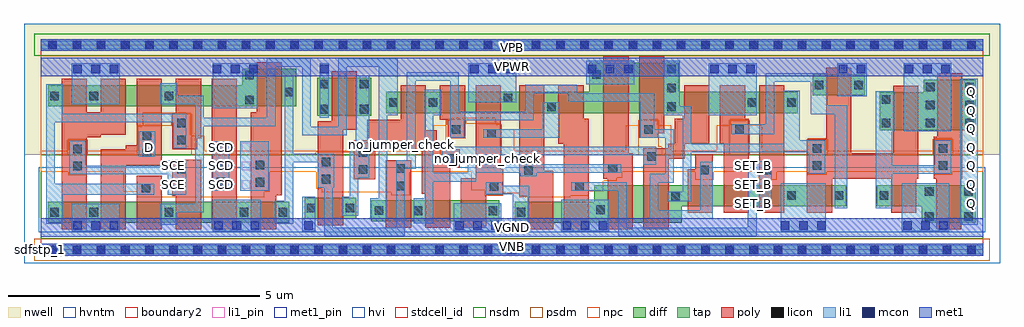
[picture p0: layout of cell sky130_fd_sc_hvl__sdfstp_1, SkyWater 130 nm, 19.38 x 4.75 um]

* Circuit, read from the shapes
.subckt sky130_fd_sc_hvl__sdfstp_1 CLK D Q SCD SCE SET_B VGND VNB VPB VPWR
XM1 VGND SCE n1 VNB sky130_fd_pr__nfet_g5v0d10v5 w=0.42 l=0.5
XM2 n2 D VGND VNB sky130_fd_pr__nfet_g5v0d10v5 w=0.42 l=0.5
XM3 n3 n1 n2 VNB sky130_fd_pr__nfet_g5v0d10v5 w=0.42 l=0.5
XM4 n4 SCE n3 VNB sky130_fd_pr__nfet_g5v0d10v5 w=0.42 l=0.5
XM5 VGND SCD n4 VNB sky130_fd_pr__nfet_g5v0d10v5 w=0.42 l=0.5
XM6 n5 CLK VGND VNB sky130_fd_pr__nfet_g5v0d10v5 w=0.42 l=0.5
XM7 n6 n5 VGND VNB sky130_fd_pr__nfet_g5v0d10v5 w=0.42 l=0.5
XM8 n7 n5 n3 VNB sky130_fd_pr__nfet_g5v0d10v5 w=0.42 l=0.5
XM9 n8 n6 n7 VNB sky130_fd_pr__nfet_g5v0d10v5 w=0.42 l=0.5
XM10 VGND n9 n8 VNB sky130_fd_pr__nfet_g5v0d10v5 w=0.42 l=0.5
XM11 n10 n7 n9 VNB sky130_fd_pr__nfet_g5v0d10v5 w=0.42 l=0.5
XM12 VGND SET_B n10 VNB sky130_fd_pr__nfet_g5v0d10v5 w=0.42 l=0.5
XM13 n11 n7 VGND VNB sky130_fd_pr__nfet_g5v0d10v5 w=0.75 l=0.5
XM14 n12 n6 n11 VNB sky130_fd_pr__nfet_g5v0d10v5 w=0.75 l=0.5
XM15 n13 n5 n12 VNB sky130_fd_pr__nfet_g5v0d10v5 w=0.42 l=0.5
XM16 n14 n15 n13 VNB sky130_fd_pr__nfet_g5v0d10v5 w=0.42 l=0.5
XM17 VGND SET_B n14 VNB sky130_fd_pr__nfet_g5v0d10v5 w=0.42 l=0.5
XM18 n15 n12 VGND VNB sky130_fd_pr__nfet_g5v0d10v5 w=0.42 l=0.5
XM19 VGND n12 n16 VNB sky130_fd_pr__nfet_g5v0d10v5 w=0.42 l=0.5
XM20 Q n16 VGND VNB sky130_fd_pr__nfet_g5v0d10v5 w=0.75 l=0.5
XM21 VPWR SCE n1 VPB sky130_fd_pr__pfet_g5v0d10v5 w=0.42 l=0.5
XM22 n17 SCE VPWR VPB sky130_fd_pr__pfet_g5v0d10v5 w=0.42 l=0.5
XM23 n3 D n17 VPB sky130_fd_pr__pfet_g5v0d10v5 w=0.42 l=0.5
XM24 n18 n1 n3 VPB sky130_fd_pr__pfet_g5v0d10v5 w=0.42 l=0.5
XM25 VPWR SCD n18 VPB sky130_fd_pr__pfet_g5v0d10v5 w=0.42 l=0.5
XM26 n5 CLK VPWR VPB sky130_fd_pr__pfet_g5v0d10v5 w=0.75 l=0.5
XM27 n6 n5 VPWR VPB sky130_fd_pr__pfet_g5v0d10v5 w=0.75 l=0.5
XM28 n7 n6 n3 VPB sky130_fd_pr__pfet_g5v0d10v5 w=0.42 l=0.5
XM29 n19 n5 n7 VPB sky130_fd_pr__pfet_g5v0d10v5 w=0.42 l=0.5
XM30 VPWR n9 n19 VPB sky130_fd_pr__pfet_g5v0d10v5 w=0.42 l=0.5
XM31 n9 n7 VPWR VPB sky130_fd_pr__pfet_g5v0d10v5 w=0.42 l=0.5
XM32 VPWR SET_B n9 VPB sky130_fd_pr__pfet_g5v0d10v5 w=0.42 l=0.5
XM33 n20 n7 VPWR VPB sky130_fd_pr__pfet_g5v0d10v5 w=1 l=0.5
XM34 n12 n5 n20 VPB sky130_fd_pr__pfet_g5v0d10v5 w=1 l=0.5
XM35 n21 n6 n12 VPB sky130_fd_pr__pfet_g5v0d10v5 w=0.42 l=0.5
XM36 VPWR n15 n21 VPB sky130_fd_pr__pfet_g5v0d10v5 w=0.42 l=0.5
XM37 n12 SET_B VPWR VPB sky130_fd_pr__pfet_g5v0d10v5 w=0.42 l=0.5
XM38 VPWR n12 n15 VPB sky130_fd_pr__pfet_g5v0d10v5 w=0.42 l=0.5
XM39 VPWR n12 n16 VPB sky130_fd_pr__pfet_g5v0d10v5 w=0.75 l=0.5
XM40 Q n16 VPWR VPB sky130_fd_pr__pfet_g5v0d10v5 w=1 l=0.5
.ends

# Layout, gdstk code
import gdstk
lib = gdstk.Library(unit=1e-6, precision=1e-09)
def R(c, l, rs):  # rectangles x0, y0, x1, y1
    for r in rs: c.add(gdstk.rectangle(r[:2], r[2:], *l))
def A(c, l, x, y, w, h, nx, ny, dx, dy):  # array of equal rectangles
    R(c, l, [(x+i*dx, y+j*dy, x+i*dx+w, y+j*dy+h) for i in range(nx) for j in range(ny)])
def P(c, l, *ps):  # polygons
    for p in ps: c.add(gdstk.Polygon(p, *l))
nwell = (64, 20)
diff = (65, 20)
tap = (65, 44)
poly = (66, 20)
licon = (66, 44)
li1_pin = (67, 16)
li1 = (67, 20)
mcon = (67, 44)
met1_pin = (68, 16)
met1 = (68, 20)
hvi = (75, 20)
stdcell_id = (81, 4)
nsdm = (93, 44)
psdm = (94, 20)
npc = (95, 20)
hvntm = (125, 20)
boundary2 = (236, 0)

sky130_fd_sc_hvl__sdfstp = lib.new_cell('sky130_fd_sc_hvl__sdfstp_1')
R(sky130_fd_sc_hvl__sdfstp, nwell, [(-0.33,1.885,19.05,4.485)])
R(sky130_fd_sc_hvl__sdfstp, diff, [(0.15,0.535,4.94,0.955), (6.57,0.565,9.11,0.985), (5.24,0.615,6.27,1.035), (5.495,2.665,6.565,3.415), (15.335,3.065,16.365,3.485)])
P(sky130_fd_sc_hvl__sdfstp, diff, [(5.075,3.595),(4.005,3.595),(4.005,3.265),(0.15,3.265),(0.15,2.845),(5.075,2.845)],
  [(15.035,3.135),(12.67,3.135),(12.67,3.715),(10.89,3.715),(10.89,3.135),(6.865,3.135),(6.865,2.715),(15.035,2.715)],
  [(16,1.285),(10.995,1.285),(10.995,0.955),(9.41,0.955),(9.41,0.535),(12.735,0.535),(12.735,0.865),(16,0.865)],
  [(18.57,3.375),(17.54,3.375),(17.54,3.125),(16.665,3.125),(16.665,2.375),(18.57,2.375)],
  [(18.57,1.285),(16.605,1.285),(16.605,0.865),(17.5,0.865),(17.5,0.535),(18.57,0.535)])
R(sky130_fd_sc_hvl__sdfstp, tap, [(0,-0.085,18.72,0.085), (0,3.985,18.72,4.155)])
R(sky130_fd_sc_hvl__sdfstp, poly, [(1.905,0.405,2.405,1.465), (3.395,0.405,3.895,3.395), (6.855,0.435,7.355,1.775), (14.27,0.735,14.77,3.265)])
P(sky130_fd_sc_hvl__sdfstp, poly, [(1.695,3.395),(1.195,3.395),(1.195,2.735),(0.915,2.735),(0.915,3.395),(0.415,3.395),(0.415,0.405),(0.915,0.405),(0.915,2.235),(1.195,2.235),(1.195,2.285),(1.695,2.285)],
  [(2.405,3.395),(1.905,3.395),(1.905,2.075),(1.695,2.075),(1.695,1.995),(1.195,1.995),(1.195,0.405),(1.695,0.405),(1.695,1.675),(2.405,1.675)],
  [(3.185,3.395),(2.685,3.395),(2.685,2.715),(2.615,2.715),(2.615,1.995),(3.115,1.995),(3.115,2.215),(3.185,2.215)],
  [(3.185,1.785),(2.615,1.785),(2.615,1.075),(2.685,1.075),(2.685,0.405),(3.185,0.405)],
  [(4.79,3.725),(4.29,3.725),(4.29,2.735),(4.175,2.735),(4.175,0.405),(4.675,0.405),(4.675,1.085),(4.79,1.085)],
  [(6.28,3.545),(5.78,3.545),(5.78,2.555),(5.505,2.555),(5.505,0.485),(6.005,0.485),(6.005,2.385),(6.28,2.385)],
  [(8.325,2),(7.87,2),(7.87,2.375),(7.65,2.375),(7.65,3.265),(7.15,3.265),(7.15,2.585),(6.49,2.585),(6.49,2.175),(6.215,2.175),(6.215,1.405),(6.645,1.405),(6.645,1.985),(7.57,1.985),(7.57,1.115),(7.635,1.115),(7.635,0.435),(8.135,0.435),(8.135,1.63),(8.325,1.63)],
  [(8.43,3.265),(7.93,3.265),(7.93,2.585),(8.08,2.585),(8.08,2.21),(8.43,2.21)],
  [(9.185,1.595),(9.14,1.595),(9.14,3.265),(8.64,3.265),(8.64,1.42),(8.345,1.42),(8.345,0.435),(8.845,0.435),(8.845,1.095),(9.185,1.095)],
  [(10.175,1.565),(10,1.565),(10,3.265),(9.5,3.265),(9.5,1.065),(9.675,1.065),(9.675,0.405),(10.175,0.405)],
  [(10.885,2.605),(10.78,2.605),(10.78,3.265),(10.28,3.265),(10.28,2.105),(10.385,2.105),(10.385,0.405),(10.885,0.405)],
  [(11.76,1.915),(11.675,1.915),(11.675,3.845),(11.175,3.845),(11.175,1.415),(11.26,1.415),(11.26,0.405),(11.76,0.405)],
  [(12.385,3.845),(11.885,3.845),(11.885,2.225),(12.255,2.225),(12.255,2.315),(12.385,2.315)],
  [(13.28,3.265),(12.78,3.265),(12.78,2.605),(12.595,2.605),(12.595,2.105),(12.465,2.105),(12.465,2.015),(11.97,2.015),(11.97,0.405),(12.47,0.405),(12.47,1.81),(12.79,1.81),(12.79,2.105),(13.28,2.105)],
  [(13.35,1.895),(13,1.895),(13,1.6),(12.845,1.6),(12.845,0.735),(13.345,0.735),(13.345,1.395),(13.35,1.395)],
  [(14.06,2.605),(13.99,2.605),(13.99,3.265),(13.49,3.265),(13.49,2.105),(13.56,2.105),(13.56,0.735),(14.06,0.735)],
  [(17.43,3.255),(16.93,3.255),(16.93,1.915),(16.1,1.915),(16.1,3.615),(15.6,3.615),(15.6,2.195),(15.215,2.195),(15.215,0.735),(15.715,0.735),(15.715,1.415),(16.89,1.415),(16.89,0.735),(17.39,0.735),(17.39,1.415),(17.43,1.415)],
  [(18.305,3.505),(17.805,3.505),(17.805,2.245),(17.73,2.245),(17.73,1.415),(17.785,1.415),(17.785,0.405),(18.285,0.405),(18.285,1.415),(18.305,1.415)])
A(sky130_fd_sc_hvl__sdfstp, licon, 0.155, -0.085, 0.17, 0.17, 39, 2, 0.48, 4.07)
A(sky130_fd_sc_hvl__sdfstp, licon, 0.97, 0.66, 0.17, 0.17, 3, 1, 1.49, 0)
A(sky130_fd_sc_hvl__sdfstp, licon, 17.58, 2.435, 0.17, 0.17, 1, 3, 0, 0.355)
A(sky130_fd_sc_hvl__sdfstp, licon, 18.36, 2.435, 0.17, 0.17, 1, 3, 0, 0.355)
A(sky130_fd_sc_hvl__sdfstp, licon, 12.44, 2.755, 0.17, 0.17, 1, 3, 0, 0.375)
R(sky130_fd_sc_hvl__sdfstp, licon, [(17.56,0.575,17.73,0.745), (18.34,0.575,18.51,0.745), (0.19,0.66,0.36,0.83), (4.73,0.66,4.9,0.83), (9.45,0.66,9.62,0.83), (7.41,0.69,7.58,0.86), (8.9,0.69,9.07,0.86), (6.63,0.695,6.8,0.865), (11.035,0.71,11.205,0.88), (5.28,0.74,5.45,0.91), (6.06,0.74,6.23,0.91), (12.525,0.975,12.695,1.145), (14.825,0.99,14.995,1.16), (15.77,0.99,15.94,1.16), (16.665,0.99,16.835,1.16), (17.56,1.075,17.73,1.245), (18.34,1.075,18.51,1.245), (2.005,1.145,2.175,1.315), (2.715,1.175,2.885,1.345), (8.915,1.175,9.085,1.345), (10.615,1.175,10.785,1.345), (7.06,1.185,7.23,1.355), (3.5,1.255,3.67,1.425), (4.275,1.255,4.445,1.425), (5.585,1.315,5.755,1.485), (9.6,1.49,9.77,1.66), (13.1,1.495,13.27,1.665), (14.35,1.495,14.52,1.665), (6.315,1.505,6.485,1.675), (2.715,1.515,2.885,1.685), (7.06,1.525,7.23,1.695), (11.275,1.525,11.445,1.695), (0.645,1.575,0.815,1.745), (15.335,1.585,15.505,1.755), (17.83,1.585,18,1.755), (3.5,1.595,3.67,1.765), (4.275,1.595,4.445,1.765), (5.585,1.655,5.755,1.825), (8.055,1.73,8.225,1.9), (12.05,1.765,12.22,1.935), (2.025,1.845,2.195,2.015), (6.315,1.845,6.485,2.015), (0.645,1.915,0.815,2.085), (15.335,1.925,15.505,2.095), (17.83,1.925,18,2.095), (2.715,2.095,2.885,2.265), (2.025,2.185,2.195,2.355), (8.87,2.225,9.04,2.395), (8.16,2.305,8.33,2.475), (11.985,2.305,12.155,2.475), (13.79,2.305,13.96,2.475), (2.715,2.435,2.885,2.605), (16.705,2.435,16.875,2.605), (5.555,2.705,5.725,2.875), (6.335,2.705,6.505,2.875), (10.055,2.755,10.225,2.925), (6.925,2.84,7.095,3.01), (7.705,2.84,7.875,3.01), (14.045,2.84,14.215,3.01), (14.825,2.84,14.995,3.01), (4.065,2.885,4.235,3.055), (16.705,2.895,16.875,3.065), (9.195,2.925,9.365,3.095), (0.19,2.97,0.36,3.14), (0.97,2.97,1.14,3.14), (2.46,2.97,2.63,3.14), (4.845,3.045,5.015,3.215), (15.375,3.19,15.545,3.36), (16.155,3.19,16.325,3.36), (5.555,3.205,5.725,3.375), (6.335,3.205,6.505,3.375), (4.065,3.385,4.235,3.555), (10.95,3.395,11.12,3.565)])
A(sky130_fd_sc_hvl__sdfstp, li1_pin, 14.075, 0.84, 0.17, 0.17, 1, 3, 0, 0.37)
A(sky130_fd_sc_hvl__sdfstp, li1_pin, 18.395, 0.84, 0.17, 0.17, 1, 7, 0, 0.37)
A(sky130_fd_sc_hvl__sdfstp, li1_pin, 3.515, 1.21, 0.17, 0.17, 1, 3, 0, 0.37)
A(sky130_fd_sc_hvl__sdfstp, li1_pin, 3.995, 1.21, 0.17, 0.17, 1, 3, 0, 0.37)
R(sky130_fd_sc_hvl__sdfstp, li1_pin, [(2.555,1.21,2.725,1.38), (2.555,1.58,2.725,1.75), (2.075,1.95,2.245,2.12)])
R(sky130_fd_sc_hvl__sdfstp, li1, [(0,-0.085,18.72,0.085), (0.62,0.365,1.57,0.915), (3.42,0.365,4.37,0.995), (5.2,0.365,5.45,1.055), (8.2,0.365,9.15,0.925), (10.335,0.365,11.285,0.995), (14.7,0.365,15.59,1.325), (17.095,0.365,18.045,1.325), (18.26,0.495,18.61,3.395), (3.42,1.175,3.75,2.15), (3.965,1.175,4.525,2.15), (1.945,1.845,2.275,2.355), (17.135,2.355,18.08,3.705), (5.545,2.625,5.725,3.705), (13.265,2.675,14.215,3.705), (3.42,2.805,4.315,3.705), (0.62,2.885,1.57,3.705), (8.495,2.925,9.445,3.705), (15.815,3.045,16.405,3.705), (10.835,3.285,11.785,3.755), (0,3.985,18.72,4.155)])
P(sky130_fd_sc_hvl__sdfstp, li1, [(2.89,2.705),(0.44,2.705),(0.44,3.285),(0.11,3.285),(0.11,0.515),(0.44,0.515),(0.44,1.095),(2.255,1.095),(2.255,1.315),(0.28,1.315),(0.28,2.535),(2.635,2.535),(2.635,2.015),(2.89,2.015)],
  [(2.89,1.78),(2.525,1.78),(2.525,1.665),(0.895,1.665),(0.895,2.165),(0.565,2.165),(0.565,1.495),(2.525,1.495),(2.525,1.095),(2.89,1.095)],
  [(6.53,3.455),(6.255,3.455),(6.255,2.095),(6.14,2.095),(6.14,1.055),(5.98,1.055),(5.98,0.675),(6.31,0.675),(6.31,1.425),(6.53,1.425)],
  [(7.095,3.805),(5.905,3.805),(5.905,2.445),(5.365,2.445),(5.365,3.805),(4.495,3.805),(4.495,2.625),(3.24,2.625),(3.24,3.055),(2.71,3.055),(2.71,3.305),(2.38,3.305),(2.38,2.885),(3.07,2.885),(3.07,0.915),(2.38,0.915),(2.38,0.495),(2.71,0.495),(2.71,0.745),(3.24,0.745),(3.24,2.455),(4.665,2.455),(4.665,3.635),(5.195,3.635),(5.195,2.275),(6.075,2.275),(6.075,3.635),(6.71,3.635),(6.71,1.025),(6.55,1.025),(6.55,0.615),(6.88,0.615),(6.88,2.675),(7.095,2.675)],
  [(9.7,1.275),(9.165,1.275),(9.165,1.345),(8.835,1.345),(8.835,1.105),(9.37,1.105),(9.37,0.515),(9.7,0.515)],
  [(10.305,2.925),(9.975,2.925),(9.975,2.395),(8.79,2.395),(8.79,2.225),(10.305,2.225)],
  [(11.525,1.695),(8.485,1.695),(8.485,1.525),(7.795,1.525),(7.795,2.675),(7.955,2.675),(7.955,3.175),(7.625,3.175),(7.625,1.025),(7.41,1.025),(7.41,0.525),(7.795,0.525),(7.795,1.355),(8.655,1.355),(8.655,1.525),(9.52,1.525),(9.52,1.455),(9.85,1.455),(9.85,1.525),(11.525,1.525)],
  [(12.22,2.045),(7.975,2.045),(7.975,1.705),(8.305,1.705),(8.305,1.875),(11.97,1.875),(11.97,1.685),(12.22,1.685)],
  [(13.35,1.745),(13.1,1.745),(13.1,0.785),(12.265,0.785),(12.265,1.335),(12.57,1.335),(12.57,2.395),(12.18,2.395),(12.18,3.105),(10.655,3.105),(10.655,3.275),(9.625,3.275),(9.625,2.745),(8.305,2.745),(8.305,3.525),(7.275,3.525),(7.275,1.775),(7.06,1.775),(7.06,0.435),(5.8,0.435),(5.8,1.235),(5.835,1.235),(5.835,1.905),(5.015,1.905),(5.015,3.455),(4.845,3.455),(4.845,0.975),(4.65,0.975),(4.65,0.515),(5.015,0.515),(5.015,1.735),(5.505,1.735),(5.505,1.235),(5.63,1.235),(5.63,0.265),(7.23,0.265),(7.23,1.605),(7.445,1.605),(7.445,3.355),(8.135,3.355),(8.135,2.225),(8.41,2.225),(8.41,2.575),(9.795,2.575),(9.795,3.105),(10.485,3.105),(10.485,2.935),(11.905,2.935),(11.905,2.225),(12.4,2.225),(12.4,1.505),(12.095,1.505),(12.095,0.615),(13.35,0.615)],
  [(14.52,1.76),(14.045,1.76),(14.045,0.435),(11.635,0.435),(11.635,1.345),(10.535,1.345),(10.535,1.175),(11.465,1.175),(11.465,0.265),(14.215,0.265),(14.215,0.81),(14.52,0.81)],
  [(15.585,2.175),(15.075,2.175),(15.075,3.155),(14.745,3.155),(14.745,2.11),(12.92,2.11),(12.92,2.845),(12.69,2.845),(12.69,3.755),(12.36,3.755),(12.36,2.675),(12.75,2.675),(12.75,1.155),(12.445,1.155),(12.445,0.965),(12.92,0.965),(12.92,1.94),(15.255,1.94),(15.255,1.505),(15.585,1.505)],
  [(16.02,2.865),(15.625,2.865),(15.625,3.505),(14.395,3.505),(14.395,2.495),(13.71,2.495),(13.71,2.29),(14.565,2.29),(14.565,3.335),(15.295,3.335),(15.295,2.695),(15.77,2.695),(15.77,0.825),(16.02,0.825)],
  [(18.08,2.175),(17.75,2.175),(17.75,1.675),(16.915,1.675),(16.915,2.355),(16.955,2.355),(16.955,3.145),(16.585,3.145),(16.585,0.825),(16.915,0.825),(16.915,1.505),(18.08,1.505)])
A(sky130_fd_sc_hvl__sdfstp, mcon, 0.65, 0.395, 0.17, 0.17, 3, 2, 0.36, 3.11)
A(sky130_fd_sc_hvl__sdfstp, mcon, 3.45, 0.395, 0.17, 0.17, 3, 1, 0.36, 0)
A(sky130_fd_sc_hvl__sdfstp, mcon, 8.23, 0.395, 0.17, 0.17, 3, 1, 0.36, 0)
A(sky130_fd_sc_hvl__sdfstp, mcon, 10.365, 0.395, 0.17, 0.17, 3, 1, 0.36, 0)
A(sky130_fd_sc_hvl__sdfstp, mcon, 14.7, 0.395, 0.17, 0.17, 3, 1, 0.36, 0)
A(sky130_fd_sc_hvl__sdfstp, mcon, 17.125, 0.395, 0.17, 0.17, 3, 1, 0.36, 0)
A(sky130_fd_sc_hvl__sdfstp, mcon, 3.42, 3.505, 0.17, 0.17, 3, 1, 0.36, 0)
A(sky130_fd_sc_hvl__sdfstp, mcon, 8.525, 3.505, 0.17, 0.17, 3, 1, 0.36, 0)
A(sky130_fd_sc_hvl__sdfstp, mcon, 10.865, 3.505, 0.17, 0.17, 3, 1, 0.36, 0)
A(sky130_fd_sc_hvl__sdfstp, mcon, 13.295, 3.505, 0.17, 0.17, 3, 1, 0.36, 0)
A(sky130_fd_sc_hvl__sdfstp, mcon, 17.16, 3.505, 0.17, 0.17, 3, 1, 0.36, 0)
R(sky130_fd_sc_hvl__sdfstp, mcon, [(0.155,-0.085,0.325,0.085), (0.155,-0.085,0.325,0.085), (0.635,-0.085,0.805,0.085), (0.635,-0.085,0.805,0.085), (1.115,-0.085,1.285,0.085), (1.115,-0.085,1.285,0.085), (1.595,-0.085,1.765,0.085), (1.595,-0.085,1.765,0.085), (2.075,-0.085,2.245,0.085), (2.075,-0.085,2.245,0.085), (2.555,-0.085,2.725,0.085), (2.555,-0.085,2.725,0.085), (3.035,-0.085,3.205,0.085), (3.035,-0.085,3.205,0.085), (3.515,-0.085,3.685,0.085), (3.515,-0.085,3.685,0.085), (3.995,-0.085,4.165,0.085), (3.995,-0.085,4.165,0.085), (4.475,-0.085,4.645,0.085), (4.475,-0.085,4.645,0.085), (4.955,-0.085,5.125,0.085), (4.955,-0.085,5.125,0.085), (5.435,-0.085,5.605,0.085), (5.435,-0.085,5.605,0.085), (5.915,-0.085,6.085,0.085), (5.915,-0.085,6.085,0.085), (6.395,-0.085,6.565,0.085), (6.395,-0.085,6.565,0.085), (6.875,-0.085,7.045,0.085), (6.875,-0.085,7.045,0.085), (7.355,-0.085,7.525,0.085), (7.355,-0.085,7.525,0.085), (7.835,-0.085,8.005,0.085), (7.835,-0.085,8.005,0.085), (8.315,-0.085,8.485,0.085), (8.315,-0.085,8.485,0.085), (8.795,-0.085,8.965,0.085), (8.795,-0.085,8.965,0.085), (9.275,-0.085,9.445,0.085), (9.275,-0.085,9.445,0.085), (9.755,-0.085,9.925,0.085), (9.755,-0.085,9.925,0.085), (10.235,-0.085,10.405,0.085), (10.235,-0.085,10.405,0.085), (10.715,-0.085,10.885,0.085), (10.715,-0.085,10.885,0.085), (11.195,-0.085,11.365,0.085), (11.195,-0.085,11.365,0.085), (11.675,-0.085,11.845,0.085), (11.675,-0.085,11.845,0.085), (12.155,-0.085,12.325,0.085), (12.155,-0.085,12.325,0.085), (12.635,-0.085,12.805,0.085), (12.635,-0.085,12.805,0.085), (13.115,-0.085,13.285,0.085), (13.115,-0.085,13.285,0.085), (13.595,-0.085,13.765,0.085), (13.595,-0.085,13.765,0.085), (14.075,-0.085,14.245,0.085), (14.075,-0.085,14.245,0.085), (14.555,-0.085,14.725,0.085), (14.555,-0.085,14.725,0.085), (15.035,-0.085,15.205,0.085), (15.035,-0.085,15.205,0.085), (15.515,-0.085,15.685,0.085), (15.515,-0.085,15.685,0.085), (15.995,-0.085,16.165,0.085), (15.995,-0.085,16.165,0.085), (16.475,-0.085,16.645,0.085), (16.475,-0.085,16.645,0.085), (16.955,-0.085,17.125,0.085), (16.955,-0.085,17.125,0.085), (17.435,-0.085,17.605,0.085), (17.435,-0.085,17.605,0.085), (17.915,-0.085,18.085,0.085), (17.915,-0.085,18.085,0.085), (18.395,-0.085,18.565,0.085), (18.395,-0.085,18.565,0.085), (5.23,0.395,5.4,0.565), (5.55,3.505,5.72,3.675), (15.845,3.505,16.015,3.675), (16.205,3.505,16.375,3.675), (0.155,3.985,0.325,4.155), (0.155,3.985,0.325,4.155), (0.635,3.985,0.805,4.155), (0.635,3.985,0.805,4.155), (1.115,3.985,1.285,4.155), (1.115,3.985,1.285,4.155), (1.595,3.985,1.765,4.155), (1.595,3.985,1.765,4.155), (2.075,3.985,2.245,4.155), (2.075,3.985,2.245,4.155), (2.555,3.985,2.725,4.155), (2.555,3.985,2.725,4.155), (3.035,3.985,3.205,4.155), (3.035,3.985,3.205,4.155), (3.515,3.985,3.685,4.155), (3.515,3.985,3.685,4.155), (3.995,3.985,4.165,4.155), (3.995,3.985,4.165,4.155), (4.475,3.985,4.645,4.155), (4.475,3.985,4.645,4.155), (4.955,3.985,5.125,4.155), (4.955,3.985,5.125,4.155), (5.435,3.985,5.605,4.155), (5.435,3.985,5.605,4.155), (5.915,3.985,6.085,4.155), (5.915,3.985,6.085,4.155), (6.395,3.985,6.565,4.155), (6.395,3.985,6.565,4.155), (6.875,3.985,7.045,4.155), (6.875,3.985,7.045,4.155), (7.355,3.985,7.525,4.155), (7.355,3.985,7.525,4.155), (7.835,3.985,8.005,4.155), (7.835,3.985,8.005,4.155), (8.315,3.985,8.485,4.155), (8.315,3.985,8.485,4.155), (8.795,3.985,8.965,4.155), (8.795,3.985,8.965,4.155), (9.275,3.985,9.445,4.155), (9.275,3.985,9.445,4.155), (9.755,3.985,9.925,4.155), (9.755,3.985,9.925,4.155), (10.235,3.985,10.405,4.155), (10.235,3.985,10.405,4.155), (10.715,3.985,10.885,4.155), (10.715,3.985,10.885,4.155), (11.195,3.985,11.365,4.155), (11.195,3.985,11.365,4.155), (11.675,3.985,11.845,4.155), (11.675,3.985,11.845,4.155), (12.155,3.985,12.325,4.155), (12.155,3.985,12.325,4.155), (12.635,3.985,12.805,4.155), (12.635,3.985,12.805,4.155), (13.115,3.985,13.285,4.155), (13.115,3.985,13.285,4.155), (13.595,3.985,13.765,4.155), (13.595,3.985,13.765,4.155), (14.075,3.985,14.245,4.155), (14.075,3.985,14.245,4.155), (14.555,3.985,14.725,4.155), (14.555,3.985,14.725,4.155), (15.035,3.985,15.205,4.155), (15.035,3.985,15.205,4.155), (15.515,3.985,15.685,4.155), (15.515,3.985,15.685,4.155), (15.995,3.985,16.165,4.155), (15.995,3.985,16.165,4.155), (16.475,3.985,16.645,4.155), (16.475,3.985,16.645,4.155), (16.955,3.985,17.125,4.155), (16.955,3.985,17.125,4.155), (17.435,3.985,17.605,4.155), (17.435,3.985,17.605,4.155), (17.915,3.985,18.085,4.155), (17.915,3.985,18.085,4.155), (18.395,3.985,18.565,4.155), (18.395,3.985,18.565,4.155)])
R(sky130_fd_sc_hvl__sdfstp, met1_pin, [(0,0,18.72,0.115), (0,0.255,18.72,0.625), (0,3.445,18.72,3.815), (0,3.955,18.72,4.07)])
R(sky130_fd_sc_hvl__sdfstp, met1, [(0,-0.115,18.72,0.115), (0,0.255,18.72,0.625), (0,3.445,18.72,3.815), (0,3.955,18.72,4.185)])
R(sky130_fd_sc_hvl__sdfstp, hvi, [(-0.33,-0.265,19.05,4.485)])
R(sky130_fd_sc_hvl__sdfstp, stdcell_id, [(0,0,18.72,4.07)])
R(sky130_fd_sc_hvl__sdfstp, nsdm, [(0,0.215,18.72,1.885), (-0.13,3.855,18.85,4.285), (0,3.855,18.72,4.07)])
R(sky130_fd_sc_hvl__sdfstp, psdm, [(-0.13,-0.215,18.85,0.215)])
P(sky130_fd_sc_hvl__sdfstp, psdm, [(18.72,3.855),(0,3.855),(0,1.885),(0.535,1.885),(0.535,2.195),(0.925,2.195),(0.925,1.885),(1.915,1.885),(1.915,2.465),(2.605,2.465),(2.605,2.715),(2.995,2.715),(2.995,1.885),(5.465,1.885),(5.465,1.935),(6.205,1.935),(6.205,2.125),(6.595,2.125),(6.595,1.885),(7.945,1.885),(7.945,2.01),(8.05,2.01),(8.05,2.585),(8.44,2.585),(8.44,2.505),(9.15,2.505),(9.15,1.885),(11.875,1.885),(11.875,2.585),(12.265,2.585),(12.265,2.045),(12.33,2.045),(12.33,1.885),(13.68,1.885),(13.68,2.585),(14.07,2.585),(14.07,1.885),(15.225,1.885),(15.225,2.205),(15.615,2.205),(15.615,1.885),(17.72,1.885),(17.72,2.205),(18.11,2.205),(18.11,1.885),(18.72,1.885)])
P(sky130_fd_sc_hvl__sdfstp, npc, [(18.72,1.97),(18.1,1.97),(18.1,2.195),(17.73,2.195),(17.73,1.97),(15.605,1.97),(15.605,2.195),(15.235,2.195),(15.235,1.97),(14.325,1.97),(14.325,2.47),(14.06,2.47),(14.06,2.575),(13.69,2.575),(13.69,2.47),(13.425,2.47),(13.425,1.97),(12.52,1.97),(12.52,2.47),(12.255,2.47),(12.255,2.575),(11.885,2.575),(11.885,2.47),(11.62,2.47),(11.62,1.97),(9.405,1.97),(9.405,2.39),(9.14,2.39),(9.14,2.495),(9.035,2.495),(9.035,2.625),(8.165,2.625),(8.165,2.575),(8.06,2.575),(8.06,2.47),(7.795,2.47),(7.795,1.97),(6.585,1.97),(6.585,2.115),(6.215,2.115),(6.215,1.97),(3.25,1.97),(3.25,2.26),(2.985,2.26),(2.985,2.705),(2.88,2.705),(2.88,2.72),(2.03,2.72),(2.03,2.455),(1.925,2.455),(1.925,1.97),(0.915,1.97),(0.915,2.185),(0.545,2.185),(0.545,1.97),(0,1.97),(0,1.545),(0.545,1.545),(0.545,1.475),(0.915,1.475),(0.915,1.545),(1.64,1.545),(1.64,1.15),(1.905,1.15),(1.905,1.045),(4.44,1.045),(4.44,1.155),(4.545,1.155),(4.545,1.545),(5.475,1.545),(5.475,1.215),(5.58,1.215),(5.58,1.14),(6.96,1.14),(6.96,1.085),(7.33,1.085),(7.33,1.545),(8.55,1.545),(8.55,1.18),(8.815,1.18),(8.815,1.075),(9.185,1.075),(9.185,1.125),(9.5,1.125),(9.5,1.045),(10.515,1.045),(10.515,1.075),(10.885,1.075),(10.885,1.16),(11.17,1.16),(11.17,1.375),(11.44,1.375),(11.44,1.425),(11.545,1.425),(11.545,1.545),(13,1.545),(13,1.395),(13.37,1.395),(13.37,1.545),(14.25,1.545),(14.25,1.395),(14.62,1.395),(14.62,1.545),(15.235,1.545),(15.235,1.485),(15.605,1.485),(15.605,1.545),(17.73,1.545),(17.73,1.485),(18.1,1.485),(18.1,1.545),(18.72,1.545)])
R(sky130_fd_sc_hvl__sdfstp, hvntm, [(-0.035,0.35,18.755,1.64)])
R(sky130_fd_sc_hvl__sdfstp, boundary2, [(0,0,18.72,4.07)])
sky130_fd_sc_hvl__sdfstp.add(gdstk.Label('no_jumper_check', (8.88,1.81), layer=83, texttype=44))
sky130_fd_sc_hvl__sdfstp.add(gdstk.Label('no_jumper_check', (7.175,2.1), layer=83, texttype=44))
sky130_fd_sc_hvl__sdfstp.add(gdstk.Label('sdfstp_1', (0,0), layer=83, texttype=44))
sky130_fd_sc_hvl__sdfstp.add(gdstk.Label('VGND', (9.36,0.44), layer=68, texttype=5))
sky130_fd_sc_hvl__sdfstp.add(gdstk.Label('VNB', (9.36,0.058), layer=68, texttype=5))
sky130_fd_sc_hvl__sdfstp.add(gdstk.Label('VPWR', (9.36,3.63), layer=68, texttype=5))
sky130_fd_sc_hvl__sdfstp.add(gdstk.Label('VPB', (9.36,4.013), layer=68, texttype=5))
sky130_fd_sc_hvl__sdfstp.add(gdstk.Label('SCD', (3.6,1.295), layer=67, texttype=5))
sky130_fd_sc_hvl__sdfstp.add(gdstk.Label('SCD', (3.6,1.665), layer=67, texttype=5))
sky130_fd_sc_hvl__sdfstp.add(gdstk.Label('SCD', (3.6,2.035), layer=67, texttype=5))
sky130_fd_sc_hvl__sdfstp.add(gdstk.Label('SCE', (2.64,1.295), layer=67, texttype=5))
sky130_fd_sc_hvl__sdfstp.add(gdstk.Label('SCE', (2.64,1.665), layer=67, texttype=5))
sky130_fd_sc_hvl__sdfstp.add(gdstk.Label('D', (2.16,2.035), layer=67, texttype=5))
sky130_fd_sc_hvl__sdfstp.add(gdstk.Label('CLK', (4.08,1.295), layer=67, texttype=5))
sky130_fd_sc_hvl__sdfstp.add(gdstk.Label('CLK', (4.08,1.665), layer=67, texttype=5))
sky130_fd_sc_hvl__sdfstp.add(gdstk.Label('CLK', (4.08,2.035), layer=67, texttype=5))
sky130_fd_sc_hvl__sdfstp.add(gdstk.Label('Q', (18.48,0.925), layer=67, texttype=5))
sky130_fd_sc_hvl__sdfstp.add(gdstk.Label('Q', (18.48,1.295), layer=67, texttype=5))
sky130_fd_sc_hvl__sdfstp.add(gdstk.Label('Q', (18.48,1.665), layer=67, texttype=5))
sky130_fd_sc_hvl__sdfstp.add(gdstk.Label('Q', (18.48,2.035), layer=67, texttype=5))
sky130_fd_sc_hvl__sdfstp.add(gdstk.Label('Q', (18.48,2.405), layer=67, texttype=5))
sky130_fd_sc_hvl__sdfstp.add(gdstk.Label('Q', (18.48,2.775), layer=67, texttype=5))
sky130_fd_sc_hvl__sdfstp.add(gdstk.Label('Q', (18.48,3.145), layer=67, texttype=5))
sky130_fd_sc_hvl__sdfstp.add(gdstk.Label('SET_B', (14.16,0.925), layer=67, texttype=5))
sky130_fd_sc_hvl__sdfstp.add(gdstk.Label('SET_B', (14.16,1.295), layer=67, texttype=5))
sky130_fd_sc_hvl__sdfstp.add(gdstk.Label('SET_B', (14.16,1.665), layer=67, texttype=5))

lib.write_gds('sky130_fd_sc_hvl__sdfstp_1.gds')
